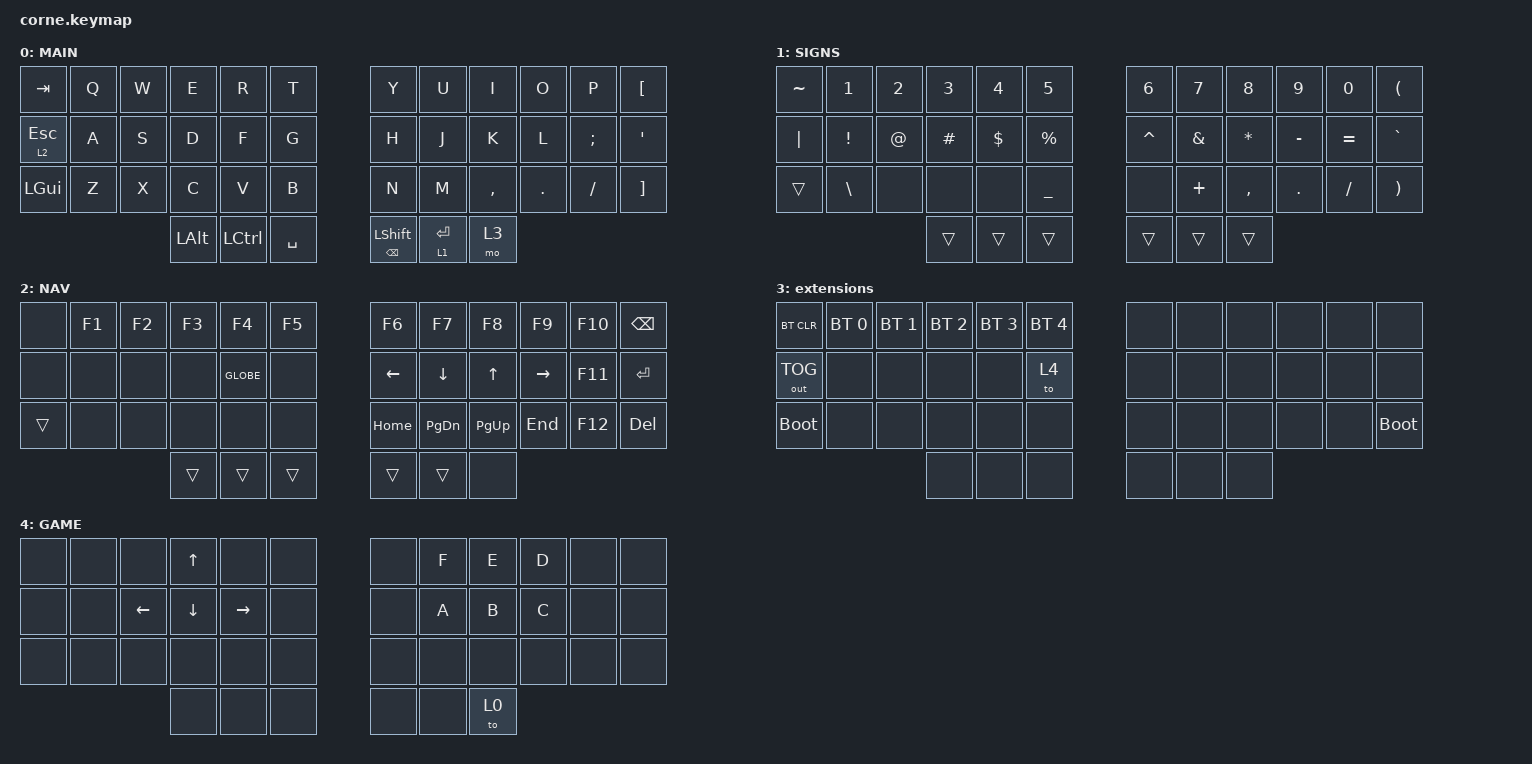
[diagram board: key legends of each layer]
/*
 * Copyright (c) 2020 The ZMK Contributors
 *
 * SPDX-License-Identifier: MIT
 */

#include <behaviors.dtsi>
#include <dt-bindings/zmk/bt.h>
#include <dt-bindings/zmk/keys.h>
#include <dt-bindings/zmk/outputs.h>

/ {
    combos { compatible = "zmk,combos"; };

    keymap {
        compatible = "zmk,keymap";

        main {
            // -----------------------------------------------------------------------------------------
            // |  TAB |  Q  |  W  |  E  |  R  |  T  |   |  Y  |  U   |  I  |  O  |  P  | BKSP |
            // | CTRL |  A  |  S  |  D  |  F  |  G  |   |  H  |  J   |  K  |  L  |  ;  |  '   |
            // | SHFT |  Z  |  X  |  C  |  V  |  B  |   |  N  |  M   |  ,  |  .  |  /  | ESC  |
            //                    | GUI | LWR | SPC |   | ENT | RSE  | ALT |

            bindings = <
&kp TAB    &kp Q  &kp W  &kp E         &kp R      &kp T        &kp Y                     &kp U        &kp I      &kp O    &kp P     &kp LEFT_BRACKET
&lt 2 ESC  &kp A  &kp S  &kp D         &kp F      &kp G        &kp H                     &kp J        &kp K      &kp L    &kp SEMI  &kp SINGLE_QUOTE
&kp LGUI   &kp Z  &kp X  &kp C         &kp V      &kp B        &kp N                     &kp M        &kp COMMA  &kp DOT  &kp FSLH  &kp RIGHT_BRACKET
                         &kp LEFT_ALT  &kp LCTRL  &kp SPACE    &mt BACKSPACE LEFT_SHIFT  &lt 1 ENTER  &mo 3
            >;

            label = "MAIN";
        };

        nums_signs {
            // -----------------------------------------------------------------------------------------
            // |  TAB |  !  |  @  |  #  |  $  |  %  |   |  ^  |  &  |  *  |  (  |  )  | BKSP |
            // | CTRL |     |     |     |     |     |   |  -  |  =  |  [  |  ]  |  \  |  `   |
            // | SHFT |     |     |     |     |     |   |  _  |  +  |  {  |  }  | "|" |  ~   |
            //                    | GUI |     | SPC |   | ENT |     | ALT |

            bindings = <
&kp TILDE  &kp N1           &kp N2       &kp N3     &kp N4      &kp N5            &kp N6     &kp N7         &kp N8        &kp N9     &kp N0     &kp LEFT_PARENTHESIS
&kp PIPE   &kp EXCLAMATION  &kp AT_SIGN  &kp POUND  &kp DOLLAR  &kp PERCENT       &kp CARET  &kp AMPERSAND  &kp ASTERISK  &kp MINUS  &kp EQUAL  &kp GRAVE
&trans     &kp BACKSLASH    &none        &none      &none       &kp UNDERSCORE    &none      &kp PLUS       &kp COMMA     &kp DOT    &kp SLASH  &kp RIGHT_PARENTHESIS
                                         &trans     &trans      &trans            &trans     &trans         &trans
            >;

            label = "SIGNS";
        };

        nav {
            // -----------------------------------------------------------------------------------------
            // |  TAB |  1  |  2  |  3  |  4  |  5  |   |  6  |  7  |  8  |  9  |  0  | BKSP |
            // | BTCLR| BT1 | BT2 | BT3 | BT4 | BT5 |   | LFT | DWN |  UP | RGT |     |      |
            // | SHFT |     |     |     |     |     |   |     |     |     |     |     |      |
            //                    | GUI |     | SPC |   | ENT |     | ALT |

            bindings = <
&none   &kp F1  &kp F2  &kp F3  &kp F4     &kp F5    &kp F6    &kp F7         &kp F8     &kp F9     &kp F10  &kp BACKSPACE
&none   &none   &none   &none   &kp GLOBE  &none     &kp LEFT  &kp DOWN       &kp UP     &kp RIGHT  &kp F11  &kp ENTER
&trans  &none   &none   &none   &none      &none     &kp HOME  &kp PAGE_DOWN  &kp PG_UP  &kp END    &kp F12  &kp DEL
                        &trans  &trans     &trans    &trans    &trans         &none
            >;

            label = "NAV";
        };

        extensions {
            bindings = <
&bt BT_CLR    &bt BT_SEL 0  &bt BT_SEL 1  &bt BT_SEL 2  &bt BT_SEL 3  &bt BT_SEL 4    &none  &none  &none  &none  &none  &none
&out OUT_TOG  &none         &none         &none         &none         &to 4           &none  &none  &none  &none  &none  &none
&bootloader   &none         &none         &none         &none         &none           &none  &none  &none  &none  &none  &bootloader
                                          &none         &none         &none           &none  &none  &none
            >;
        };

        GAME {
            bindings = <
&none  &none  &none     &kp UP    &none      &none    &none  &kp F  &kp E  &kp D  &none  &none
&none  &none  &kp LEFT  &kp DOWN  &kp RIGHT  &none    &none  &kp A  &kp B  &kp C  &none  &none
&none  &none  &none     &none     &none      &none    &none  &none  &none  &none  &none  &none
                        &none     &none      &none    &none  &none  &to 0
            >;
        };
    };
};
